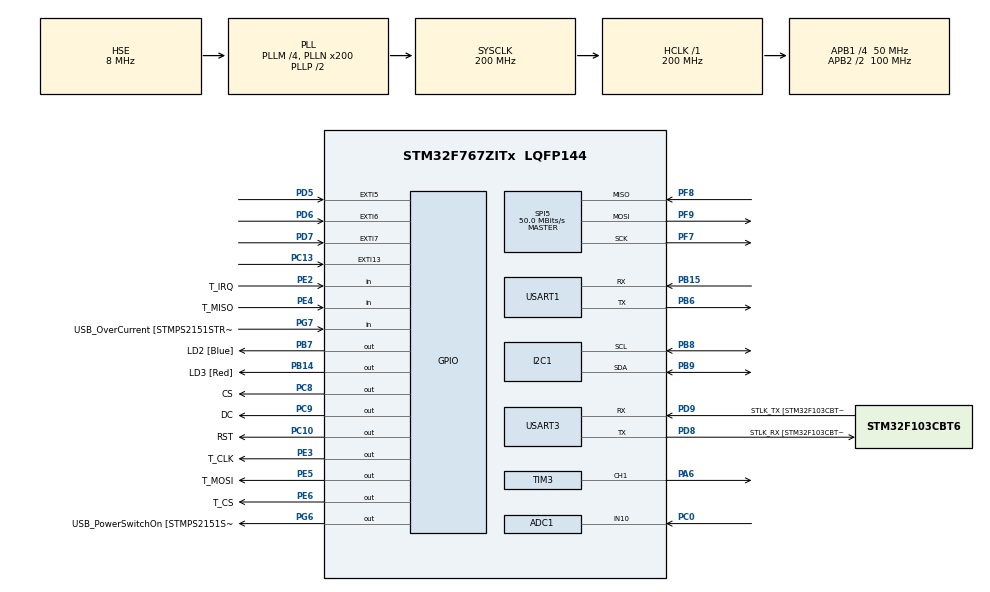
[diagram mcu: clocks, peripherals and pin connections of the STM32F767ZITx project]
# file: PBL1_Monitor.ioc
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ADC1.Channel-0\#ChannelRegularConversion=ADC_CHANNEL_10
ADC1.ClockPrescaler=ADC_CLOCK_SYNC_PCLK_DIV4
ADC1.ContinuousConvMode=ENABLE
ADC1.EOCSelection=ADC_EOC_SEQ_CONV
ADC1.NbrOfConversionFlag=1
ADC1.Rank-0\#ChannelRegularConversion=1
ADC1.SamplingTime-0\#ChannelRegularConversion=ADC_SAMPLETIME_3CYCLES
ADC1.master=1
CORTEX_M7.ART_ACCLERATOR_ENABLE=1
CORTEX_M7.CPU_DCache=Enabled
CORTEX_M7.CPU_ICache=Enabled
CORTEX_M7.PREFETCH_ENABLE=1
I2C1.Timing=0x00C0EAFF
Mcu.Family=STM32F7
Mcu.Name=STM32F767ZITx
Mcu.Package=LQFP144
NVIC.EXTI15_10_IRQn=true\:4\:0\:true\:false\:true\:true\:true
NVIC.EXTI9_5_IRQn=true\:3\:0\:true\:false\:true\:true\:true
NVIC.PriorityGroup=NVIC_PRIORITYGROUP_4
NVIC.TIM1_UP_TIM10_IRQn=true\:1\:0\:true\:false\:true\:true\:true
NVIC.TIM2_IRQn=true\:2\:0\:true\:false\:true\:true\:true
PA1.GPIO_Label=RMII_REF_CLK [LAN8742A-CZ-TR_REFCLK0]
PA1.Signal=ETH_REF_CLK
PA13.GPIO_Label=TMS
PA13.Mode=Serial_Wire
PA13.Signal=SYS_JTMS-SWDIO
PA14.GPIO_Label=TCK
PA14.Mode=Serial_Wire
PA14.Signal=SYS_JTCK-SWCLK
PA2.GPIO_Label=RMII_MDIO [LAN8742A-CZ-TR_MDIO]
PA2.Signal=ETH_MDIO
PA6.Signal=S_TIM3_CH1
PA7.GPIO_Label=RMII_CRS_DV [LAN8742A-CZ-TR_CRS_DV]
PA7.Signal=ETH_CRS_DV
PB13.GPIO_Label=RMII_TXD1 [LAN8742A-CZ-TR_TXD1]
PB13.Signal=ETH_TXD1
PB14.GPIO_Label=LD3 [Red]
PB14.Signal=GPIO_Output
PB15.Mode=Asynchronous
PB15.Signal=USART1_RX
PB3.GPIO_Label=SWO
PB3.Signal=SYS_JTDO-SWO
PB6.Mode=Asynchronous
PB6.Signal=USART1_TX
PB7.GPIO_Label=LD2 [Blue]
PB7.Signal=GPIO_Output
PB8.Mode=I2C
PB8.Signal=I2C1_SCL
PB9.Mode=I2C
PB9.Signal=I2C1_SDA
PC0.Signal=ADCx_IN10
PC1.GPIO_Label=RMII_MDC [LAN8742A-CZ-TR_MDC]
PC1.Signal=ETH_MDC
PC10.GPIO_Label=RST
PC10.GPIO_Speed=GPIO_SPEED_FREQ_VERY_HIGH
PC10.Signal=GPIO_Output
PC13.GPIO_ModeDefaultEXTI=GPIO_MODE_IT_FALLING
PC13.Signal=GPXTI13
PC14/OSC32_IN.Mode=LSE-External-Oscillator
PC14/OSC32_IN.Signal=RCC_OSC32_IN
PC15/OSC32_OUT.Mode=LSE-External-Oscillator
PC15/OSC32_OUT.Signal=RCC_OSC32_OUT
PC4.GPIO_Label=RMII_RXD0 [LAN8742A-CZ-TR_RXD0]
PC4.Signal=ETH_RXD0
PC5.GPIO_Label=RMII_RXD1 [LAN8742A-CZ-TR_RXD1]
PC5.Signal=ETH_RXD1
PC8.GPIO_Label=CS
PC8.GPIO_Speed=GPIO_SPEED_FREQ_VERY_HIGH
PC8.Signal=GPIO_Output
PC9.GPIO_Label=DC
PC9.GPIO_Speed=GPIO_SPEED_FREQ_VERY_HIGH
PC9.Signal=GPIO_Output
PD5.GPIO_ModeDefaultEXTI=GPIO_MODE_IT_FALLING
PD5.Signal=GPXTI5
PD6.GPIO_ModeDefaultEXTI=GPIO_MODE_IT_FALLING
PD6.Signal=GPXTI6
PD7.GPIO_ModeDefaultEXTI=GPIO_MODE_IT_FALLING
PD7.Signal=GPXTI7
PD8.GPIO_Label=STLK_RX [STM32F103CBT6_PA3]
PD8.Mode=Asynchronous
PD8.Signal=USART3_TX
PD9.GPIO_Label=STLK_TX [STM32F103CBT6_PA2]
PD9.Mode=Asynchronous
PD9.Signal=USART3_RX
PE2.GPIO_Label=T_IRQ
PE2.Signal=GPIO_Input
PE3.GPIO_Label=T_CLK
PE3.GPIO_Speed=GPIO_SPEED_FREQ_VERY_HIGH
PE3.Signal=GPIO_Output
PE4.GPIO_Label=T_MISO
PE4.Signal=GPIO_Input
PE5.GPIO_Label=T_MOSI
PE5.GPIO_Speed=GPIO_SPEED_FREQ_VERY_HIGH
PE5.Signal=GPIO_Output
PE6.GPIO_Label=T_CS
PE6.GPIO_Speed=GPIO_SPEED_FREQ_VERY_HIGH
PE6.Signal=GPIO_Output
PF7.Mode=Full_Duplex_Master
PF7.Signal=SPI5_SCK
PF8.Mode=Full_Duplex_Master
PF8.Signal=SPI5_MISO
PF9.Mode=Full_Duplex_Master
PF9.Signal=SPI5_MOSI
PG11.GPIO_Label=RMII_TX_EN [LAN8742A-CZ-TR_TXEN]
PG11.Signal=ETH_TX_EN
PG13.GPIO_Label=RMII_TXD0 [LAN8742A-CZ-TR_TXD0]
PG13.Signal=ETH_TXD0
PG6.GPIO_Label=USB_PowerSwitchOn [STMPS2151STR_EN]
PG6.Signal=GPIO_Output
PG7.GPIO_Label=USB_OverCurrent [STMPS2151STR_FAULT]
PG7.Signal=GPIO_Input
PH0/OSC_IN.GPIO_Label=MCO [STM32F103CBT6_PA8]
PH0/OSC_IN.Mode=HSE-External-Clock-Source
PH0/OSC_IN.Signal=RCC_OSC_IN
PH1/OSC_OUT.Mode=HSE-External-Clock-Source
PH1/OSC_OUT.Signal=RCC_OSC_OUT
ProjectManager.HeapSize=0x200
ProjectManager.StackSize=0x400
ProjectManager.TargetToolchain=STM32CubeIDE
RCC.48MHZClocksFreq_Value=24000000
RCC.AHBFreq_Value=200000000
RCC.APB1CLKDivider=RCC_HCLK_DIV4
RCC.APB1Freq_Value=50000000
RCC.APB1TimFreq_Value=100000000
RCC.APB2CLKDivider=RCC_HCLK_DIV2
RCC.APB2Freq_Value=100000000
RCC.APB2TimFreq_Value=200000000
RCC.CortexFreq_Value=200000000
RCC.HCLKFreq_Value=200000000
RCC.HSE_VALUE=8000000
RCC.HSI_VALUE=16000000
RCC.PLLM=4
RCC.PLLMUL=RCC_PLL_MUL9
RCC.PLLN=200
RCC.PLLQ=9
RCC.PLLSourceVirtual=RCC_PLLSOURCE_HSE
RCC.PRESCALERUSB=RCC_USBCLKSOURCE_PLL_DIV1_5
RCC.SYSCLKFreq_VALUE=200000000
RCC.SYSCLKSource=RCC_SYSCLKSOURCE_PLLCLK
RCC.SYSCLKSourceVirtual=RCC_SYSCLKSOURCE_PLLCLK
RCC.USBFreq_Value=44444444.44444445
RCC.VCOOutputFreq_Value=400000000
SH.ADCx_IN10.0=ADC1_IN10,IN10
SH.S_TIM3_CH1.0=TIM3_CH1,PWM Generation1 CH1
SPI5.CalculateBaudRate=50.0 MBits/s
SPI5.DataSize=SPI_DATASIZE_8BIT
SPI5.Direction=SPI_DIRECTION_2LINES
SPI5.Mode=SPI_MODE_MASTER
SPI5.NSSPMode=SPI_NSS_PULSE_DISABLE
SPI5.VirtualType=VM_MASTER
TIM1.ClockDivision=TIM_CLOCKDIVISION_DIV1
TIM1.Period=1000-1
TIM1.Prescaler=200-1
TIM2.CounterMode=TIM_COUNTERMODE_UP
TIM2.Period=50000-1
TIM2.Prescaler=1000-1
TIM3.Channel-PWM\ Generation1\ CH1=TIM_CHANNEL_1
TIM3.Period=1000-1
TIM3.Prescaler=250-1
TIM3.Pulse-PWM\ Generation1\ CH1=1000-1
USART1.VirtualMode-Asynchronous=VM_ASYNC
USART3.VirtualMode-Asynchronous=VM_ASYNC
VP_RNG_VS_RNG.Mode=RNG_Activate
VP_TIM1_VS_ClockSourceINT.Mode=Internal
VP_TIM2_VS_ClockSourceINT.Mode=Internal
VP_TIM3_VS_ClockSourceINT.Mode=Internal
board=NUCLEO-F767ZI

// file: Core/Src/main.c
/* USER CODE BEGIN Header */
/**
  ******************************************************************************
  * @file           : main.c
  * @brief          : Main program body
  ******************************************************************************
  * @attention
  *
  * <h2><center>&copy; Copyright (c) 2021 STMicroelectronics.
  * All rights reserved.</center></h2>
  *
  * This software component is licensed by ST under BSD 3-Clause license,
  * the "License"; You may not use this file except in compliance with the
  * License. You may obtain a copy of the License at:
  *                        opensource.org/licenses/BSD-3-Clause
  *
  ******************************************************************************
  */
/* USER CODE END Header */
#include "main.h"
#include "adc.h"
#include "i2c.h"
#include "rng.h"
#include "spi.h"
#include "tim.h"
#include "usart.h"
#include "gpio.h"

/* USER CODE BEGIN Includes */
#include "string.h"
#include "stdio.h"
#include "ILI9341_Touchscreen.h"

#include "ILI9341_STM32_Driver.h"
#include "ILI9341_GFX.h"

#include "snow_tiger.h"

#include "am2320.h"

#include "stdbool.h"

#include "EEPROM.h"
/* USER CODE END Includes */

/* USER CODE BEGIN PV */
/* Private variables ---------------------------------------------------------*/

bool initialState = false;

//Values on Screen
uint32_t numberOfRecord = 0; //index
uint8_t lightPercent = 100;
float temp = 99.0;
float humid =  99.0;

uint32_t prevNumberOfRecord = 0;
uint8_t prevLightPercent = 0;
float prevTemp = 0.0;
float prevHumid = 0.0;

//Buffer
uint32_t numberOfRecordBuffer[20] = {0}; //index

//Average Buffer 20 values (1 value/500ms for 10 s)
uint8_t lightPercentBuffer[20] = {0};
float tempBuffer[20] = {0.0};
float humidBuffer[20] = {0.0};

char Temp_Buffer_text[60];

//ADC
volatile uint32_t adc_val = 0;

//Button
bool pressButton1 = 0;
bool pressButton2 = 0;
bool pressButton3 = 0;
bool pressButton4 = 0;

//Mode
uint8_t mode = 0; // default 0, average 1
int8_t previousNum = 1; //avg page, negative index from now
int8_t prevPreviousNum = 0;

//Timer
uint64_t millisecondHAL = 0;
uint64_t prevMillisecondHAL = 0;

//Screen
uint32_t colorScreen = BLACK;
uint32_t prevColorScreen = BLACK;

//EEPROM AddressI2C = 0xa0

/* USER CODE END PV */

void SystemClock_Config(void);
/* USER CODE BEGIN PFP */
/* Private function prototypes -----------------------------------------------*/
uint16_t CRC16_2(uint8_t *, uint8_t );
/* USER CODE END PFP */

/* USER CODE BEGIN 0 */

// EEPROM Delete
void eraseAllData(){
	for (int i=0; i<512; i++)
	{
	  EEPROM_PageErase(i);
	}
}

void saveAllData(){

	// Record 32 bit Page 1,2
	// Light 8 bit Page 3
	// Temp 32 bit Page 4,5
	// Humid 32 bit Page 6,7

	char str[100];
//	sprintf(str, "*******************\n\r");
//	HAL_UART_Transmit(&huart3, (uint8_t*) str, strlen(str),200);

	// Record 32 bit, #PAGE 1, 0-9, 10 amounts (40 bytes)
	for(uint8_t i = 0; i < 10; i++){
		uint32_t value = numberOfRecordBuffer[i];
		EEPROM_Write_NUM(1, i*4, value);

//		sprintf(str, "%d WRITE1\n\r", value);
//		HAL_UART_Transmit(&huart3, (uint8_t*) str, strlen(str),200);
	}
	// Record 32 bit, #PAGE 2, 10-19, 10 amounts (40 bytes)
	for(uint8_t i = 0; i < 10; i++){
		uint32_t value = numberOfRecordBuffer[i+10];
		EEPROM_Write_NUM(2, i*4, value);
//
//		sprintf(str, "%d WRITE2\n\r",value);
//		HAL_UART_Transmit(&huart3, (uint8_t*) str, strlen(str),200);
	}

	// Light is Ok
	EEPROM_Write(3, 0, lightPercentBuffer, 20);

	// Temp 32 bit, #PAGE 4, 0-9, 10 amounts (40 bytes)
	for(uint8_t i = 0; i < 10; i++){
		float value = tempBuffer[i];
		EEPROM_Write_NUM(4, i*4, value);
	}
	// Temp 32 bit, #PAGE 5, 10-19, 10 amounts (40 bytes)
	for(uint8_t i = 0; i < 10; i++){
		float value = tempBuffer[i+10];
		EEPROM_Write_NUM(5, i*4, value);
	}

	// Humid 32 bit, #PAGE 6, 0-9, 10 amounts (40 bytes)
	for(uint8_t i = 0; i < 10; i++){
		float value = humidBuffer[i];
		EEPROM_Write_NUM(6, i*4, value);
	}
	// Humid 32 bit, #PAGE 7, 10-19, 10 amounts (40 bytes)
	for(uint8_t i = 0; i < 10; i++){
		float value = humidBuffer[i+10];
		EEPROM_Write_NUM(7, i*4, value);
	}

}

void readAllData(){

	uint32_t numberOfRecordMax = 0;

	char str[100];
//	sprintf(str, "---------------------\n\r");
//	HAL_UART_Transmit(&huart3, (uint8_t*) str, strlen(str),200);

	// Record 32 bit, #PAGE 1, 0-9, 10 amounts (40 bytes)
	for(uint8_t i = 0; i < 10; i++){
		numberOfRecordBuffer[i] = (uint32_t)EEPROM_Read_NUM(1, i*4);
		if(numberOfRecordBuffer[i] > numberOfRecordMax){
			numberOfRecordMax = numberOfRecordBuffer[i];
		}

//		sprintf(str, "%d READ1\n\r",numberOfRecordBuffer[i]);
//		HAL_UART_Transmit(&huart3, (uint8_t*) str, strlen(str),200);
	}
	// Record 32 bit, #PAGE 2, 10-19, 10 amounts (40 bytes)
	for(uint8_t i = 0; i < 10; i++){
		numberOfRecordBuffer[i+10] = (uint32_t)EEPROM_Read_NUM(2, i*4);
		if(numberOfRecordBuffer[i+10] > numberOfRecordMax){
			numberOfRecordMax = numberOfRecordBuffer[i+10];
		}

//		sprintf(str, "%d READ2\n\r",numberOfRecordBuffer[i+10]);
//		HAL_UART_Transmit(&huart3, (uint8_t*) str, strlen(str),200);
	}

	// Update the Lastest
	numberOfRecord = numberOfRecordMax;

	// Light is Ok
	EEPROM_Read(3, 0, lightPercentBuffer, 20);

	// Temp 32 bit, #PAGE 4, 0-9, 10 amounts (40 bytes)
	for(uint8_t i = 0; i < 10; i++){
		tempBuffer[i] = (uint32_t)EEPROM_Read_NUM(4, i*4);
	}
	// Temp 32 bit, #PAGE 5, 10-19, 10 amounts (40 bytes)
	for(uint8_t i = 0; i < 10; i++){
		tempBuffer[i+10] = (uint32_t)EEPROM_Read_NUM(5, i*4);
	}
	// Humid 32 bit, #PAGE 6, 0-9, 10 amounts (40 bytes)
	for(uint8_t i = 0; i < 10; i++){
		humidBuffer[i] = (uint32_t)EEPROM_Read_NUM(6, i*4);
	}
	// Humid 32 bit, #PAGE 7, 10-19, 10 amounts (40 bytes)
	for(uint8_t i = 0; i < 10; i++){
		humidBuffer[i+10] = (uint32_t)EEPROM_Read_NUM(7, i*4);
	}

}

// Paint screen black
void setHorizontalScreen(uint16_t color){
	ILI9341_Fill_Screen(color);
	ILI9341_Set_Rotation(SCREEN_HORIZONTAL_1);
	ILI9341_Draw_Filled_Rectangle_Coord(15, 15, 305, 225, BLACK);
}

// Print text white font with black background
void printText(char arr[],float line,int offset,int size, uint32_t color){ // text, line, offset, size
	line -=1;
	ILI9341_Draw_Text(arr, 35, 30+(offset*line), color, size, BLACK);
}

void printValue(char arr[],float line,int offset,int size, uint32_t color){
	line -=1;
	ILI9341_Draw_Text(arr, 150, 30+(offset*line), color, size, BLACK);
}

void newLine(void){
	char newLine[20] = "\n\r";
	HAL_UART_Transmit(&huart3, (uint8_t*) newLine, strlen(newLine), 1000);
}

char str[50];
uint8_t cmdBuffer[3];
uint8_t dataBuffer[8];

void tempMonitor(){
	//Temperature
	cmdBuffer[0] = 0x03;
	cmdBuffer[1] = 0x00;
	cmdBuffer[2] = 0x04;

	//Send Temp & Humid via UART3
//	sprintf(str, "Temperature = %4.1f\tHumidity = %4.1f\n\r", temp, humid);
//	while(__HAL_UART_GET_FLAG(&huart3,UART_FLAG_TC)==RESET){}
//	HAL_UART_Transmit(&huart3, (uint8_t*) str, strlen(str),200);

	//HAL_Delay(5000); //>3000 ms
	//HAL_GPIO_TogglePin(GPIOB, GPIO_PIN_0);

	//Wake up sensor
	HAL_I2C_Master_Transmit(&hi2c1, 0x5c<<1, cmdBuffer, 3, 200);
	//Send reading command
	HAL_I2C_Master_Transmit(&hi2c1, 0x5c<<1, cmdBuffer, 3, 200);

	HAL_Delay(100); // 50 is too low, 100 is okay

	//Receive sensor data
	HAL_I2C_Master_Receive(&hi2c1, 0x5c<<1, dataBuffer, 8, 200);

	uint16_t Rcrc = dataBuffer[7] << 8;
	Rcrc += dataBuffer[6];
	if (Rcrc == CRC16_2(dataBuffer, 6)) {
		uint16_t temperature = ((dataBuffer[4] & 0x7F) << 8) + dataBuffer[5];
		temp = temperature / 10.0;
		temp = (((dataBuffer[4] & 0x80) >> 7)== 1) ? (temp * (-1)) : temp ; // the temperature can be negative

		uint16_t humidity = (dataBuffer[2] << 8) + dataBuffer[3];
		humid = humidity / 10.0;
	}
}

void averageScreen(){
	uint8_t size = 3;
	uint8_t offset = 30;
	uint8_t n = 0;

	uint16_t averageLightPercent = 0;
	float averageTemp = 0.0;
	float averageHumid = 0.0;

	if(numberOfRecord <= 19){
		n = numberOfRecord;
	}else{
		n = 20;
	}

	for(uint8_t i=0; i<n; i++){
		averageLightPercent += lightPercentBuffer[i];
		averageTemp += tempBuffer[i];
		averageHumid += humidBuffer[i];

//		sprintf(str, "%d %f %f / %d %f %f\n\r",lightPercentBuffer[i], tempBuffer[i], humidBuffer[i],averageLightPercent ,averageTemp, averageHumid);
//		HAL_UART_Transmit(&huart3, (uint8_t*) str, strlen(str),200);
	}

	averageLightPercent /= n;
	averageTemp /= n;
	averageHumid /= n;

	//Average
	sprintf(Temp_Buffer_text, "Average 10 s");
	printText(Temp_Buffer_text,1.5,offset,size,GREENYELLOW);

	//Light
	sprintf(Temp_Buffer_text, "Light");
	printText(Temp_Buffer_text,3,offset,size,ORANGE);
	//Temperature
	sprintf(Temp_Buffer_text, "Temp");
	printText(Temp_Buffer_text,4,offset,size,PINK);
	//Humidity
	sprintf(Temp_Buffer_text, "Humid");
	printText(Temp_Buffer_text,5,offset,size,MAROON);

	//Update Light
	sprintf(Temp_Buffer_text, "%02d %%", averageLightPercent);
	printValue(Temp_Buffer_text,3,offset,size,WHITE);
	//Update Temperature
	sprintf(Temp_Buffer_text, "%0.1f C", averageTemp);
	printValue(Temp_Buffer_text,4,offset,size,WHITE);
	//Update Humidity
	sprintf(Temp_Buffer_text, "%0.1f %%", averageHumid);
	printValue(Temp_Buffer_text,5,offset,size,WHITE);

	sprintf(Temp_Buffer_text, "\n****************************\n\n\r");
	HAL_UART_Transmit(&huart3, (uint8_t*) Temp_Buffer_text, strlen(Temp_Buffer_text),200);
	sprintf(Temp_Buffer_text, "Average 10 s\n\r");
	HAL_UART_Transmit(&huart3, (uint8_t*) Temp_Buffer_text, strlen(Temp_Buffer_text),200);
	sprintf(Temp_Buffer_text, "Light   %02d %%\n\r", averageLightPercent);
	HAL_UART_Transmit(&huart3, (uint8_t*) Temp_Buffer_text, strlen(Temp_Buffer_text),200);
	sprintf(Temp_Buffer_text, "Temp    %0.1f C\n\r", averageTemp);
	HAL_UART_Transmit(&huart3, (uint8_t*) Temp_Buffer_text, strlen(Temp_Buffer_text),200);
	sprintf(Temp_Buffer_text, "Humid   %0.1f %%\n\r", averageHumid);
	HAL_UART_Transmit(&huart3, (uint8_t*) Temp_Buffer_text, strlen(Temp_Buffer_text),200);
	sprintf(Temp_Buffer_text, "****************************\n\n\r");
	HAL_UART_Transmit(&huart3, (uint8_t*) Temp_Buffer_text, strlen(Temp_Buffer_text),200);

}
void updatePreviousValue(){
	uint8_t size = 3;
	uint8_t offset = 30;
	uint64_t showNum = numberOfRecord + previousNum;
	//Update Record
	sprintf(Temp_Buffer_text, "%05d", numberOfRecordBuffer[showNum % 20]);
	printValue(Temp_Buffer_text,1.5,offset,size,WHITE);
	//Update Light
	sprintf(Temp_Buffer_text, "%02d %%", lightPercentBuffer[showNum % 20]);
	printValue(Temp_Buffer_text,3,offset,size,WHITE);
	//Update Temperature
	sprintf(Temp_Buffer_text, "%0.1f C", tempBuffer[showNum % 20]);
	printValue(Temp_Buffer_text,4,offset,size,WHITE);
	//Update Humidity
	sprintf(Temp_Buffer_text, "%0.1f %%", humidBuffer[showNum % 20]);
	printValue(Temp_Buffer_text,5,offset,size,WHITE);
}

void initialValue(){
	uint8_t size = 3;
	uint8_t offset = 30;

	prevNumberOfRecord = 0;
	prevLightPercent = 0;
	prevTemp = 0.0;
	prevHumid = 0.0;

	//Record
	sprintf(Temp_Buffer_text, "Record");
	printText(Temp_Buffer_text,1.5,offset,size,GREENYELLOW);
	//Light
	sprintf(Temp_Buffer_text, "Light");
	printText(Temp_Buffer_text,3,offset,size,ORANGE);
	//Temperature
	sprintf(Temp_Buffer_text, "Temp");
	printText(Temp_Buffer_text,4,offset,size,PINK);
	//Humidity
	sprintf(Temp_Buffer_text, "Humid");
	printText(Temp_Buffer_text,5,offset,size,MAROON);
}

void updateValue(){
	uint8_t size = 3;
	uint8_t offset = 30;

	//Read before Show // fix need to show from buffer or assign buffer to lastest value
	readAllData();

	//Update Record
	if(prevNumberOfRecord != numberOfRecord){
		sprintf(Temp_Buffer_text, "%05d", numberOfRecord+1);
		printValue(Temp_Buffer_text,1.5,offset,size,WHITE);
		prevNumberOfRecord = numberOfRecord;
	}
	//Update Light
	if(prevLightPercent != lightPercent){
		sprintf(Temp_Buffer_text, "%02d %%", lightPercent);
		printValue(Temp_Buffer_text,3,offset,size,WHITE);
		prevLightPercent = lightPercent;
	}
	//Update Temperature
	if(prevTemp != temp){
		sprintf(Temp_Buffer_text, "%0.1f C", temp);
		printValue(Temp_Buffer_text,4,offset,size,WHITE);
		prevTemp = temp;
	}
	//Update Humidity
	if(prevHumid != humid){
		sprintf(Temp_Buffer_text, "%0.1f %%", humid);
		printValue(Temp_Buffer_text,5,offset,size,WHITE);
		prevHumid = humid;
	}

	//Print UART
	sprintf(Temp_Buffer_text, "Record  %05d\n\r", (int)(numberOfRecord+1));
	HAL_UART_Transmit(&huart3, (uint8_t*) Temp_Buffer_text, strlen(Temp_Buffer_text),200);
	sprintf(Temp_Buffer_text, "Light   %02d %%\n\r", lightPercent);
	HAL_UART_Transmit(&huart3, (uint8_t*) Temp_Buffer_text, strlen(Temp_Buffer_text),200);
	sprintf(Temp_Buffer_text, "Temp    %0.1f C\n\r", temp);
	HAL_UART_Transmit(&huart3, (uint8_t*) Temp_Buffer_text, strlen(Temp_Buffer_text),200);
	sprintf(Temp_Buffer_text, "Humid   %0.1f %%\n\r", humid);
	HAL_UART_Transmit(&huart3, (uint8_t*) Temp_Buffer_text, strlen(Temp_Buffer_text),200);
	sprintf(Temp_Buffer_text, "\n\r");
	HAL_UART_Transmit(&huart3, (uint8_t*) Temp_Buffer_text, strlen(Temp_Buffer_text),200);

	//Buffer
	numberOfRecordBuffer[numberOfRecord % 20] = numberOfRecord+1;
	lightPercentBuffer[numberOfRecord % 20] = lightPercent;
	tempBuffer[numberOfRecord % 20] = temp;
	humidBuffer[numberOfRecord % 20] = humid;

	//Write After Update
	saveAllData();
}

void resisterMonitor(){

	  float dutyCycleScreen = 0.0;
	  while(HAL_ADC_PollForConversion(&hadc1, 100) != HAL_OK){}
	  adc_val = HAL_ADC_GetValue(&hadc1);
	  lightPercent = adc_val*100 / 4095;

	  //Change Screen Light Output
	  //PWM
	  dutyCycleScreen = ((adc_val/4095.0) * 0.8) + 0.2;
	  //No. 2
	  htim3.Instance -> CCR1 = (1000-1) * dutyCycleScreen;

	  HAL_TIM_PWM_Start(&htim3, TIM_CHANNEL_1);

//	  sprintf(str, "%d %d\n\r", lightPercent, adc_val);
//	  HAL_UART_Transmit(&huart3, (uint8_t*) str, strlen(str),200);
}

void readButton(){
	if(pressButton1 == 1){

		if(mode == 0){
			mode = 1;
		}else{
			mode = 0;
		}
		initialState = false;
		previousNum = 1; //avg page
		prevPreviousNum = 0;
		HAL_Delay(200); // Debounce button
		pressButton1 = 0;
	}

	if(pressButton2 == 1){
		if(previousNum > -19 && numberOfRecord+previousNum > 0){
			previousNum--;
		}
		HAL_Delay(200); // Debounce button
		pressButton2 = 0;
	}

	if(pressButton3 == 1){
		if(previousNum < 0+1){
			previousNum++;
		}
		HAL_Delay(200); // Debounce button
		pressButton3 = 0;
	}

	if(pressButton4 == 1){
		eraseAllData();
		HAL_Delay(200); // Debounce button
		pressButton4 = 0;
	}

}

void calculationTimer(){
	millisecondHAL = HAL_GetTick();
}

void colorCalculation(){
//	float temp = 22;
//	temp += lightPercent*0.1;
	if(temp >= 31.0){
		colorScreen = ORANGE;
	}else if(temp >= 29.0 && temp < 31.0){
		colorScreen = YELLOW;
	}else if(temp >= 27.0 && temp < 29.0){
		colorScreen = GREENYELLOW;
	}else if(temp >= 25.0 && temp < 27.0){
		colorScreen = GREEN;
	}else if(temp >= 23.0 && temp < 25.0){
		colorScreen = CYAN;
	}else if(temp < 23.0){
		colorScreen = BLUE;
	}
}

void assignmentOne(){

	readButton();
	calculationTimer();
	colorCalculation();

	if(mode == 0){ //Normal Mode
		if(prevColorScreen != colorScreen){
			initialState = false;
			prevColorScreen = colorScreen;
		}
		//Print Text Only First time
		if(initialState == false){
			setHorizontalScreen(colorScreen);
			initialValue();
			initialState = true;
		}

		//Read Sensor
		tempMonitor();
		//Read Variable Resister
		resisterMonitor();

		if(millisecondHAL - prevMillisecondHAL >= 500){

			//Increment
			numberOfRecord++;

			//Reset
			if(numberOfRecord > 99999){
				eraseAllData(); // for not max overide number of Record // clean and save new data
				numberOfRecord = 0;
			}

			//Print Value of Sensors
			updateValue();

			prevMillisecondHAL = millisecondHAL;
		}

	}else if(mode == 1){ // Show Average
		if(initialState == false){
			setHorizontalScreen(RED);
			initialValue();
			initialState = true;
		}

		if(prevPreviousNum != previousNum){
			if(previousNum > 0){
				setHorizontalScreen(RED); //set new screen
				averageScreen();
			}else if(previousNum == 0){
				setHorizontalScreen(RED); //set new screen
				initialValue();
				updatePreviousValue();
			}else if(previousNum < 0){
				updatePreviousValue();
			}
			prevPreviousNum = previousNum;
		}

	}

}

/* USER CODE END 0 */

int main(void)
{

  /* Enable I-Cache---------------------------------------------------------*/
  SCB_EnableICache();

  /* Enable D-Cache---------------------------------------------------------*/
  SCB_EnableDCache();

  /* MCU Configuration--------------------------------------------------------*/

  /* Reset of all peripherals, Initializes the Flash interface and the Systick. */
  HAL_Init();

  /* Configure the system clock */
  SystemClock_Config();

  /* Initialize all configured peripherals */
  MX_GPIO_Init();
  MX_USART3_UART_Init();
  MX_SPI5_Init();
  MX_TIM1_Init();
  MX_RNG_Init();
  MX_I2C1_Init();
  MX_TIM2_Init();
  MX_TIM3_Init();
  MX_USART1_UART_Init();
  MX_ADC1_Init();
  /* USER CODE BEGIN 2 */

  //Delete All Data EEPROM
  readAllData();

  //Initial driver setup to drive ili9341
  ILI9341_Init();

  //ADC Input variable Resister(Light)
  HAL_ADC_Start(&hadc1);

  //Interrupt millisecond
  HAL_TIM_Base_Start_IT(&htim1);
  HAL_TIM_Base_Start_IT(&htim2);

  //Reset Screen
  setHorizontalScreen(BLACK);

  /* USER CODE END 2 */

  /* Infinite loop */
  while (1)
  {

    /* USER CODE BEGIN 3 */

	  assignmentOne();

  }
  /* USER CODE END 3 */
}

void SystemClock_Config(void)
{
  RCC_OscInitTypeDef RCC_OscInitStruct = {0};
  RCC_ClkInitTypeDef RCC_ClkInitStruct = {0};
  RCC_PeriphCLKInitTypeDef PeriphClkInitStruct = {0};

  /** Configure LSE Drive Capability
  */
  HAL_PWR_EnableBkUpAccess();
  /** Configure the main internal regulator output voltage
  */
  __HAL_RCC_PWR_CLK_ENABLE();
  __HAL_PWR_VOLTAGESCALING_CONFIG(PWR_REGULATOR_VOLTAGE_SCALE1);
  /** Initializes the RCC Oscillators according to the specified parameters
  * in the RCC_OscInitTypeDef structure.
  */
  RCC_OscInitStruct.OscillatorType = RCC_OSCILLATORTYPE_HSE;
  RCC_OscInitStruct.HSEState = RCC_HSE_BYPASS;
  RCC_OscInitStruct.PLL.PLLState = RCC_PLL_ON;
  RCC_OscInitStruct.PLL.PLLSource = RCC_PLLSOURCE_HSE;
  RCC_OscInitStruct.PLL.PLLM = 4;
  RCC_OscInitStruct.PLL.PLLN = 200;
  RCC_OscInitStruct.PLL.PLLP = RCC_PLLP_DIV2;
  RCC_OscInitStruct.PLL.PLLQ = 9;
  RCC_OscInitStruct.PLL.PLLR = 2;
  if (HAL_RCC_OscConfig(&RCC_OscInitStruct) != HAL_OK)
  {
    Error_Handler();
  }
  /** Activate the Over-Drive mode
  */
  if (HAL_PWREx_EnableOverDrive() != HAL_OK)
  {
    Error_Handler();
  }
  /** Initializes the CPU, AHB and APB buses clocks
  */
  RCC_ClkInitStruct.ClockType = RCC_CLOCKTYPE_HCLK|RCC_CLOCKTYPE_SYSCLK
                              |RCC_CLOCKTYPE_PCLK1|RCC_CLOCKTYPE_PCLK2;
  RCC_ClkInitStruct.SYSCLKSource = RCC_SYSCLKSOURCE_PLLCLK;
  RCC_ClkInitStruct.AHBCLKDivider = RCC_SYSCLK_DIV1;
  RCC_ClkInitStruct.APB1CLKDivider = RCC_HCLK_DIV4;
  RCC_ClkInitStruct.APB2CLKDivider = RCC_HCLK_DIV2;

  if (HAL_RCC_ClockConfig(&RCC_ClkInitStruct, FLASH_LATENCY_6) != HAL_OK)
  {
    Error_Handler();
  }
  PeriphClkInitStruct.PeriphClockSelection = RCC_PERIPHCLK_USART1|RCC_PERIPHCLK_USART3
                              |RCC_PERIPHCLK_I2C1|RCC_PERIPHCLK_CLK48;
  PeriphClkInitStruct.Usart1ClockSelection = RCC_USART1CLKSOURCE_PCLK2;
  PeriphClkInitStruct.Usart3ClockSelection = RCC_USART3CLKSOURCE_PCLK1;
  PeriphClkInitStruct.I2c1ClockSelection = RCC_I2C1CLKSOURCE_PCLK1;
  PeriphClkInitStruct.Clk48ClockSelection = RCC_CLK48SOURCE_PLL;
  if (HAL_RCCEx_PeriphCLKConfig(&PeriphClkInitStruct) != HAL_OK)
  {
    Error_Handler();
  }
}

/* USER CODE BEGIN 4 */
void HAL_GPIO_EXTI_Callback(uint16_t GPIO_Pin)
{
	//Green
	if (GPIO_Pin == GPIO_PIN_7)
	{
//		sprintf(str, "pin7 \n\r");
		pressButton1 = 1;
//		HAL_UART_Transmit(&huart3, (uint8_t*) str, strlen(str),200);
	}
	//Red
	else if (GPIO_Pin == GPIO_PIN_6)
	{
		pressButton2 = 1;
//		sprintf(str, "pin6 \n\r");
//		HAL_UART_Transmit(&huart3, (uint8_t*) str, strlen(str),200);
	}
	//Blue
	else if (GPIO_Pin == GPIO_PIN_5)
	{
		pressButton3 = 1;
//		sprintf(str, "pin5 \n\r");
//		HAL_UART_Transmit(&huart3, (uint8_t*) str, strlen(str),200);
	}
	//On Board
	//Blue
	else if (GPIO_Pin == GPIO_PIN_13)
	{
		pressButton4 = 1;
//		sprintf(str, "pin13 \n\r");
//		HAL_UART_Transmit(&huart3, (uint8_t*) str, strlen(str),200);
	}

}

uint16_t CRC16_2(uint8_t *ptr, uint8_t length)
{
      uint16_t 	crc = 0xFFFF;
      uint8_t 	s 	= 0x00;

      while(length--) {
        crc ^= *ptr++;
        for(s = 0; s < 8; s++) {
          if((crc & 0x01) != 0) {
            crc >>= 1;
            crc ^= 0xA001;
          } else crc >>= 1;
        }
      }
      return crc;
}

/* USER CODE END 4 */

void Error_Handler(void)
{
  while(1)
  {
  }
}

/************************ (C) COPYRIGHT STMicroelectronics *****END OF FILE****/
